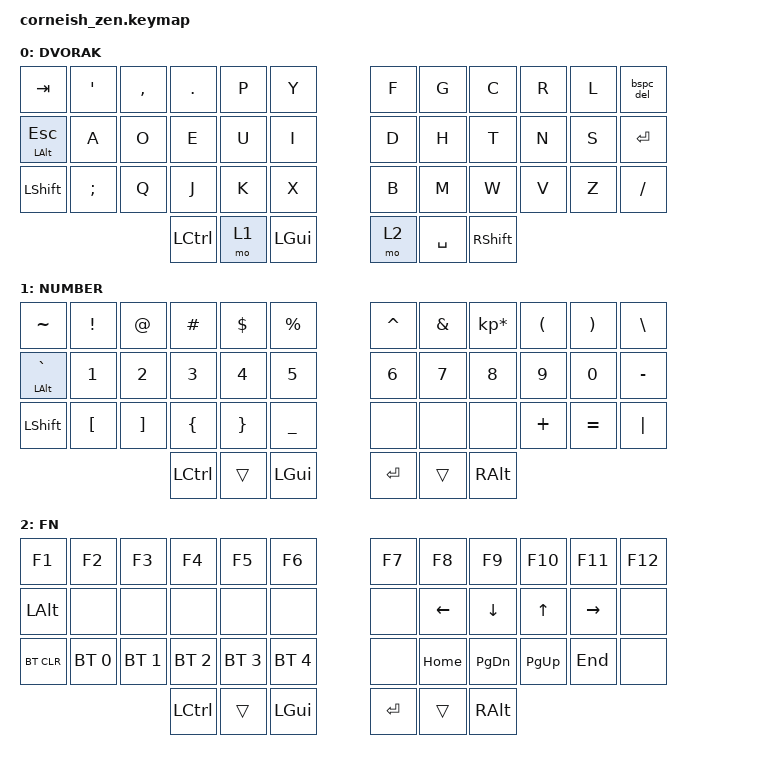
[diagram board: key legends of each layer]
/*
*
* Copyright (c) 2021 Darryl deHaan
* SPDX-License-Identifier: MIT
*
*/

#include <behaviors.dtsi>
#include <dt-bindings/zmk/keys.h>
#include <dt-bindings/zmk/bt.h>

/ {
    chosen {
        zmk,matrix_transform = &default_transform;
    };

    // behaviors {
    //     bspcdel: backspace_delete {
    //         compatible = "zmk,behaviour-mod-morph";
    //         label = "BACKSPACE_DELETE";
    //         #binding-cells = <0>;
    //         bindings = <&kp BSPC>, <&kp DELETE>;
    //         mods = <(MOD_LSFT)>;
    //     };
    // };

    behaviors {
        bspc_del: backspace_delete {
            compatible = "zmk,behavior-mod-morph";
            label = "BACKSPACE_DELETE";
            #binding-cells = <0>;
            bindings =
                <&kp BSPC>,
                <&kp DELETE>;

            mods = <(MOD_LSFT)>;

            // mods = <(MOD_LSFT|MOD_RSFT)>;
            // keep-mods = <(MOD_RSFT)>;
        };
    };

    keymap {
        compatible = "zmk,keymap";

        default_layer {
            label = "DVORAK";

            // -----------------------------------------------------------------------------------------
            // |  TAB |  '  |  ,  |  .  |  P  |  Y  |   |  F  |  G   |  C  |  R  |  L  | BKSP |
            // |  ESC |  A  |  O  |  E  |  U  |  I  |   |  D  |  H   |  T  |  N  |  S  | ENT  |
            // | SHFT |  ;  |  Q  |  J  |  K  |  X  |   |  B  |  M   |  W  |  V  |  Z  | /    |
            //                    | GUI | LWR | SPC |   | ENT | RSE  | ALT |

            bindings = <
     &kp TAB   &kp SQT  &kp COMMA    &kp DOT  &kp P     &kp Y  &kp F      &kp G            &kp C  &kp R  &kp L  &bspc_del
&mt LALT ESC     &kp A      &kp O      &kp E  &kp U     &kp I  &kp D      &kp H            &kp T  &kp N  &kp S    &kp RET
   &kp LSHFT  &kp SEMI      &kp Q      &kp J  &kp K     &kp X  &kp B      &kp M            &kp W  &kp V  &kp Z   &kp FSLH
                                   &kp LCTRL  &mo 1  &kp LGUI  &mo 2  &kp SPACE  &kp RIGHT_SHIFT
            >;
        };

        number_layer {
            label = "NUMBER";

            // -----------------------------------------------------------------------------------------
            // | ~    |  !  |  @  |  #  |  $  |  %  |   |  ^  |  &  |  *  |  (  |  )  |  \   |
            // | ` CTL|  1  |  2  |  3  |  4  |  5  |   |  6  |  7  |  8  |  9  |  0  | BKSP |
            // | SHFT |  [  |  ]  |  {  |  }  |  _  |   |     |     |     |  +  |  =  | "|"  |
            //                    | GUI | LWR | LGUI|   | ENT |     | ALT |

            bindings = <
     &kp TILDE  &kp EXCL    &kp AT   &kp HASH  &kp DLLR  &kp PRCNT  &kp CARET  &kp AMPS  &kp KP_MULTIPLY  &kp LPAR   &kp RPAR   &kp BSLH
&mt LALT GRAVE    &kp N1    &kp N2     &kp N3    &kp N4     &kp N5     &kp N6    &kp N7           &kp N8    &kp N9     &kp N0  &kp MINUS
    &kp LSHIFT  &kp LBKT  &kp RBKT   &kp LBRC  &kp RBRC  &kp UNDER      &none     &none            &none  &kp PLUS  &kp EQUAL   &kp PIPE
                                    &kp LCTRL    &trans   &kp LGUI    &kp RET    &trans         &kp RALT
            >;
        };

        fn_layer {
            label = "FN";

            // -----------------------------------------------------------------------------------------
            // |  F1  | F2  | F3  | F4  | F5  | F6  |   | F7  | F8  | F9  | F10 | F11 | F12 |
            // | BTCLR| BT1 | BT2 | BT3 | BT4 | BT5 |   |     | LFT | DWN |  UP | RGT |     |
            // | SHFT |     |     |     |     |     |   |     | HOME| PGDN| PGUP| END |      |
            //                    | GUI |     | SPC |   | ENT |     | ALT |

            bindings = <
    &kp F1        &kp F2        &kp F3        &kp F4        &kp F5        &kp F6   &kp F7    &kp F8     &kp F9    &kp F10    &kp F11  &kp F12
  &kp LALT         &none         &none         &none         &none         &none    &none  &kp LEFT   &kp DOWN     &kp UP  &kp RIGHT    &none
&bt BT_CLR  &bt BT_SEL 0  &bt BT_SEL 1  &bt BT_SEL 2  &bt BT_SEL 3  &bt BT_SEL 4    &none  &kp HOME  &kp PG_DN  &kp PG_UP    &kp END    &none
                                           &kp LCTRL        &trans      &kp LGUI  &kp RET    &trans   &kp RALT
            >;
        };

        //                 qwerty_layer {
        //                         label = "QWERTY";
        // // -----------------------------------------------------------------------------------------
        // // |  TAB |  Q  |  W  |  E  |  R  |  T  |   |  Y  |  U   |  I  |  O  |  P  | BKSP |
        // // | CTRL |  A  |  S  |  D  |  F  |  G  |   |  H  |  J   |  K  |  L  |  ;  |  '   |
        // // | SHFT |  Z  |  X  |  C  |  V  |  B  |   |  N  |  M   |  ,  |  .  |  /  | ESC  |
        // //                    | GUI | LWR | SPC |   | ENT | RSE  | ALT |
        //                         bindings = <
        //    &kp TAB   &kp Q &kp W &kp E &kp R &kp T   &kp Y &kp U  &kp I     &kp O   &kp P    &kp BSPC
        //    &kp LCTRL &kp A &kp S &kp D &kp F &kp G   &kp H &kp J  &kp K     &kp L   &kp SEMI &kp SQT
        //    &kp LSHFT &kp Z &kp X &kp C &kp V &kp B   &kp N &kp M  &kp COMMA &kp DOT &kp FSLH &kp ESC
        //                   &kp LGUI &mo 1 &kp SPACE   &kp RET &mo 2 &kp RALT
        //                         >;
        //                 };
    };
};
